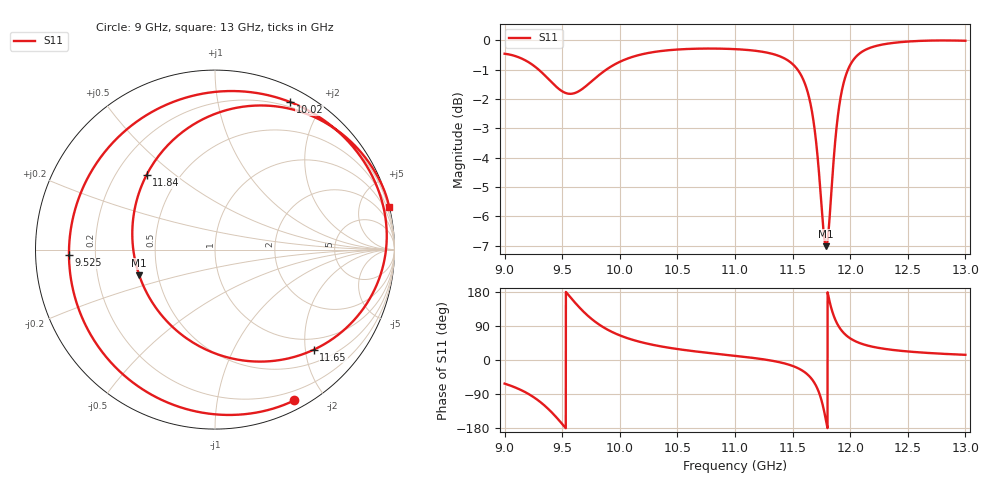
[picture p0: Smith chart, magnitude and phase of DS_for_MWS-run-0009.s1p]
! TOUCHSTONE file generated by CST DESIGN STUDIO
! Date and time: Tue Feb  4 16:41:43 2025
! Project name: C:\Work\MatlabApps\UnitCellOptimizationMatlab\CST\unitcell.cst
! Tree item: Tasks\Sweep1\SPara1\S-Parameters
! Header version: 2024
! Port assignment regex: !\s*Touchstone port\s*([0-9]+)\s*=\s*(CST MWS port|CST DES external port|CST DES block port)\s*(.+)\s* \(\"(.*)\"\)(\s*mode\s*([0-9]+))?.*
! Touchstone port assignment:
! Touchstone port 1 = CST DES external port 1 ("")
# GHz S MA R 50
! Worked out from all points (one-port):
!   4001 points, 9 GHz to 13 GHz, reference 50 ohm
!   lowest |S11| = -7.0 dB at 11.79 GHz (marker M1), VSWR 2.61, Z = 19.6 - j7.02 ohm
!   |S11| at or under -10 dB: nowhere
!   S11 on the Smith chart (normalised r, x): 9 GHz: 0.10, -1.65; 9.525 GHz: 0.10, -0.02; 10.02 GHz: 0.15, +1.62; 11.65 GHz: 0.75, -2.18; 11.84 GHz: 0.33, +0.40; 13 GHz: 0.04, +8.35
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9  0.9491 -62.3
9.145  0.932 -79.6
9.293  0.8926 -106.9
9.393  0.8545 -133.3
9.5  0.8189 -168.8
9.525  0.8142 -177.8
9.64  0.8184 141.7
9.737  0.8457 113.0
9.848  0.8816 88.1
10  0.9195 65.0
10.017  0.9228 63.0
10.224  0.95 44.2
10.5  0.9649 28.9
11  0.9664 11.1
11.305  0.9507 -1.1
11.5  0.9114 -15.6
11.588  0.8614 -28.6
11.653  0.7837 -45.3
11.731  0.5886 -87.3
11.76  0.4954 -117.0
11.791  0.4458 -161.2
11.84  0.5643 132.5
11.87  0.6736 106.7
11.903  0.7693 87.4
12  0.9082 57.1
12.173  0.9715 36.5
12.5  0.9956 22.5
13  0.9988 13.7
